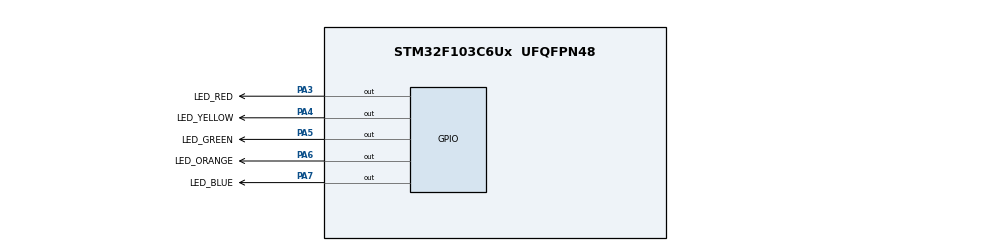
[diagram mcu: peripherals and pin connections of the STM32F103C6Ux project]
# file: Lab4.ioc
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Mcu.Family=STM32F1
Mcu.Name=STM32F103C6Ux
Mcu.Package=UFQFPN48
NVIC.PriorityGroup=NVIC_PRIORITYGROUP_4
NVIC.TIM2_IRQn=true\:0\:0\:false\:false\:true\:true\:true
PA3.GPIO_Label=LED_RED
PA3.Signal=GPIO_Output
PA4.GPIO_Label=LED_YELLOW
PA4.Signal=GPIO_Output
PA5.GPIO_Label=LED_GREEN
PA5.Signal=GPIO_Output
PA6.GPIO_Label=LED_ORANGE
PA6.Signal=GPIO_Output
PA7.GPIO_Label=LED_BLUE
PA7.Signal=GPIO_Output
ProjectManager.HeapSize=0x200
ProjectManager.StackSize=0x400
ProjectManager.TargetToolchain=STM32CubeIDE
RCC.APB1Freq_Value=8000000
RCC.APB2Freq_Value=8000000
TIM2.Period=9
TIM2.Prescaler=7999
VP_SYS_VS_ND.Mode=No_Debug
VP_TIM2_VS_ClockSourceINT.Mode=Internal
board=custom

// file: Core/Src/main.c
/* USER CODE BEGIN Header */
/**
  ******************************************************************************
  * @file           : main.c
  * @brief          : Main program body
  ******************************************************************************
  * @attention
  *
  * <h2><center>&copy; Copyright (c) 2024 STMicroelectronics.
  * All rights reserved.</center></h2>
  *
  * This software component is licensed by ST under BSD 3-Clause license,
  * the "License"; You may not use this file except in compliance with the
  * License. You may obtain a copy of the License at:
  *                        opensource.org/licenses/BSD-3-Clause
  *
  ******************************************************************************
  */
/* USER CODE END Header */
#include "main.h"
#include "led.h"
#include "scheduler.h"
#include "software_timer.h"

TIM_HandleTypeDef htim2;

void SystemClock_Config(void);
static void MX_GPIO_Init(void);
static void MX_TIM2_Init(void);

int main(void)
{

  /* MCU Configuration--------------------------------------------------------*/

  /* Reset of all peripherals, Initializes the Flash interface and the Systick. */
  HAL_Init();

  /* Configure the system clock */
  SystemClock_Config();

  /* Initialize all configured peripherals */
  MX_GPIO_Init();
  MX_TIM2_Init();
  /* USER CODE BEGIN 2 */
  HAL_TIM_Base_Start_IT(&htim2);
  /* USER CODE END 2 */

  /* Infinite loop */
  /* USER CODE BEGIN WHILE */
  HAL_GPIO_WritePin(LED_RED_GPIO_Port, LED_RED_Pin, SET);
  HAL_GPIO_WritePin(LED_YELLOW_GPIO_Port, LED_YELLOW_Pin, SET);
  HAL_GPIO_WritePin(LED_GREEN_GPIO_Port, LED_GREEN_Pin, SET);
  HAL_GPIO_WritePin(LED_ORANGE_GPIO_Port, LED_ORANGE_Pin, SET);
  HAL_GPIO_WritePin(LED_BLUE_GPIO_Port, LED_BLUE_Pin, SET);

  SCH_Add_Task(toggleLedRed, 0, 50);
  SCH_Add_Task(toggleLedYellow, 5, 100);
  SCH_Add_Task(toggleLedGreen, 10, 150);
  SCH_Add_Task(toggleLedOrange, 15, 200);
  SCH_Add_Task(toggleLedBlue, 20, 250);

  while (1)
  {
	  SCH_Dispatch_Tasks();
//	  if(timer1_flag == 1)
//	  {
//		  toggleLedRed();
//		  setTimer1(50);
//	  }
    /* USER CODE END WHILE */

  }
}

void SystemClock_Config(void)
{
  RCC_OscInitTypeDef RCC_OscInitStruct = {0};
  RCC_ClkInitTypeDef RCC_ClkInitStruct = {0};

  /** Initializes the RCC Oscillators according to the specified parameters
  * in the RCC_OscInitTypeDef structure.
  */
  RCC_OscInitStruct.OscillatorType = RCC_OSCILLATORTYPE_HSI;
  RCC_OscInitStruct.HSIState = RCC_HSI_ON;
  RCC_OscInitStruct.HSICalibrationValue = RCC_HSICALIBRATION_DEFAULT;
  RCC_OscInitStruct.PLL.PLLState = RCC_PLL_NONE;
  if (HAL_RCC_OscConfig(&RCC_OscInitStruct) != HAL_OK)
  {
    Error_Handler();
  }
  /** Initializes the CPU, AHB and APB buses clocks
  */
  RCC_ClkInitStruct.ClockType = RCC_CLOCKTYPE_HCLK|RCC_CLOCKTYPE_SYSCLK
                              |RCC_CLOCKTYPE_PCLK1|RCC_CLOCKTYPE_PCLK2;
  RCC_ClkInitStruct.SYSCLKSource = RCC_SYSCLKSOURCE_HSI;
  RCC_ClkInitStruct.AHBCLKDivider = RCC_SYSCLK_DIV1;
  RCC_ClkInitStruct.APB1CLKDivider = RCC_HCLK_DIV1;
  RCC_ClkInitStruct.APB2CLKDivider = RCC_HCLK_DIV1;

  if (HAL_RCC_ClockConfig(&RCC_ClkInitStruct, FLASH_LATENCY_0) != HAL_OK)
  {
    Error_Handler();
  }
}

static void MX_TIM2_Init(void)
{

  TIM_ClockConfigTypeDef sClockSourceConfig = {0};
  TIM_MasterConfigTypeDef sMasterConfig = {0};

  htim2.Instance = TIM2;
  htim2.Init.Prescaler = 7999;
  htim2.Init.CounterMode = TIM_COUNTERMODE_UP;
  htim2.Init.Period = 9;
  htim2.Init.ClockDivision = TIM_CLOCKDIVISION_DIV1;
  htim2.Init.AutoReloadPreload = TIM_AUTORELOAD_PRELOAD_DISABLE;
  if (HAL_TIM_Base_Init(&htim2) != HAL_OK)
  {
    Error_Handler();
  }
  sClockSourceConfig.ClockSource = TIM_CLOCKSOURCE_INTERNAL;
  if (HAL_TIM_ConfigClockSource(&htim2, &sClockSourceConfig) != HAL_OK)
  {
    Error_Handler();
  }
  sMasterConfig.MasterOutputTrigger = TIM_TRGO_RESET;
  sMasterConfig.MasterSlaveMode = TIM_MASTERSLAVEMODE_DISABLE;
  if (HAL_TIMEx_MasterConfigSynchronization(&htim2, &sMasterConfig) != HAL_OK)
  {
    Error_Handler();
  }

}

static void MX_GPIO_Init(void)
{
  GPIO_InitTypeDef GPIO_InitStruct = {0};

  /* GPIO Ports Clock Enable */
  __HAL_RCC_GPIOA_CLK_ENABLE();

  /*Configure GPIO pin Output Level */
  HAL_GPIO_WritePin(GPIOA, LED_RED_Pin|LED_YELLOW_Pin|LED_GREEN_Pin|LED_ORANGE_Pin
                          |LED_BLUE_Pin, GPIO_PIN_RESET);

  /*Configure GPIO pins : LED_RED_Pin LED_YELLOW_Pin LED_GREEN_Pin LED_ORANGE_Pin
                           LED_BLUE_Pin */
  GPIO_InitStruct.Pin = LED_RED_Pin|LED_YELLOW_Pin|LED_GREEN_Pin|LED_ORANGE_Pin
                          |LED_BLUE_Pin;
  GPIO_InitStruct.Mode = GPIO_MODE_OUTPUT_PP;
  GPIO_InitStruct.Pull = GPIO_NOPULL;
  GPIO_InitStruct.Speed = GPIO_SPEED_FREQ_LOW;
  HAL_GPIO_Init(GPIOA, &GPIO_InitStruct);

}

/* USER CODE BEGIN 4 */
void HAL_TIM_PeriodElapsedCallback(TIM_HandleTypeDef *htim)
{
	timerRun();
	SCH_Update();
}
/* USER CODE END 4 */

void Error_Handler(void)
{
  __disable_irq();
  while (1)
  {
  }
}

/************************ (C) COPYRIGHT STMicroelectronics *****END OF FILE****/
